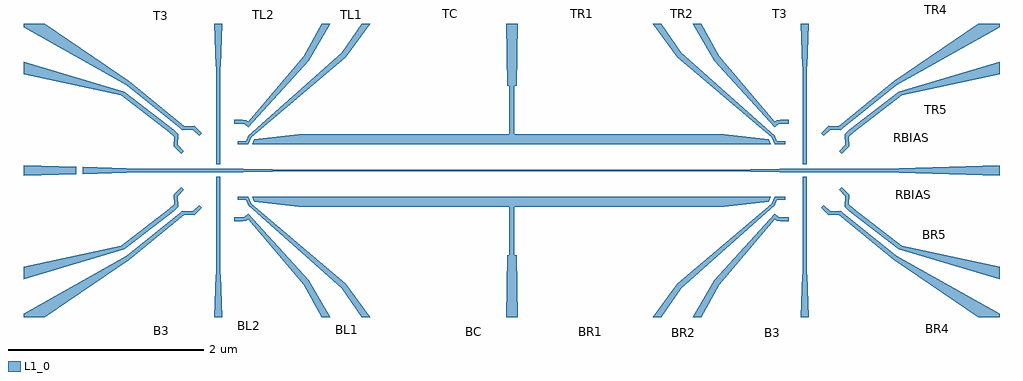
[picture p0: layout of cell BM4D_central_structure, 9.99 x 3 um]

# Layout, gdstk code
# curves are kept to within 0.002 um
import gdstk
lib = gdstk.Library(unit=1e-6, precision=1e-09)
def P(c, l, *ps):  # polygons
    for p in ps: c.add(gdstk.Polygon(p, *l))
L1_0 = (1, 0)

bm4d_central_structure = lib.new_cell('BM4D_central_structure')
P(bm4d_central_structure, L1_0, [(-1.946,-1.5),(-2.131,-1.172),(-2.701,-0.498),(-2.72,-0.515),(-2.758,-0.521),(-2.845,-0.521),(-2.845,-0.481),(-2.762,-0.481),(-2.738,-0.477),(-2.697,-0.442),(-2.081,-1.122),(-1.86,-1.5)],
  [(1.851,-1.5),(2.072,-1.122),(2.688,-0.442),(2.729,-0.477),(2.753,-0.481),(2.836,-0.481),(2.836,-0.521),(2.749,-0.521),(2.711,-0.515),(2.692,-0.498),(2.122,-1.172),(1.937,-1.5)],
  [(-5,-1.5),(-5,-1.468),(-3.945,-0.874),(-3.395,-0.432),(-3.375,-0.412),(-3.268,-0.418),(-3.203,-0.354),(-3.175,-0.382),(-3.252,-0.459),(-3.352,-0.454),(-3.919,-0.912),(-4.781,-1.5)],
  [(4.772,-1.5),(3.91,-0.912),(3.343,-0.454),(3.243,-0.459),(3.166,-0.382),(3.194,-0.354),(3.259,-0.418),(3.366,-0.412),(3.386,-0.432),(3.936,-0.874),(4.991,-1.468),(4.991,-1.5)],
  [(-1.539,-1.5),(-1.744,-1.204),(-2.697,-0.358),(-2.719,-0.3),(-2.808,-0.3),(-2.808,-0.27),(-2.699,-0.27),(-2.671,-0.342),(-1.7,-1.16),(-1.452,-1.5)],
  [(-0.057,-1.5),(-0.05,-0.87),(-0.025,-0.87),(-0.025,-0.37),(-2.183,-0.37),(-2.64,-0.32),(-2.659,-0.27),(2.65,-0.27),(2.631,-0.32),(2.174,-0.37),(0.025,-0.37),(0.025,-0.87),(0.05,-0.87),(0.057,-1.5)],
  [(1.443,-1.5),(1.691,-1.16),(2.662,-0.342),(2.69,-0.27),(2.799,-0.27),(2.799,-0.3),(2.71,-0.3),(2.688,-0.358),(1.735,-1.204),(1.53,-1.5)],
  [(-5,-1.112),(-5,-0.983),(-3.997,-0.768),(-3.507,-0.394),(-3.459,-0.346),(-3.464,-0.247),(-3.387,-0.17),(-3.359,-0.198),(-3.423,-0.262),(-3.418,-0.37),(-3.464,-0.416),(-3.971,-0.806)],
  [(4.991,-1.112),(3.962,-0.806),(3.455,-0.416),(3.409,-0.37),(3.414,-0.262),(3.35,-0.198),(3.378,-0.17),(3.455,-0.247),(3.45,-0.346),(3.498,-0.394),(3.988,-0.768),(4.991,-0.983)],
  [(-3.045,-1.5),(-3.03,-1.065),(-3.025,-1.065),(-3.025,-0.065),(-2.985,-0.065),(-2.985,-1.065),(-2.98,-1.065),(-2.965,-1.5)],
  [(2.956,-1.5),(2.971,-1.065),(2.976,-1.065),(2.976,-0.065),(3.016,-0.065),(3.016,-1.065),(3.021,-1.065),(3.036,-1.5)],
  [(-5,-0.053),(-5,0.053),(-4.462,0.038),(-4.462,-0.038)],
  [(4.991,-0.053),(3.791,-0.02),(2.741,-0.02),(2.141,-0.01),(-2.15,-0.01),(-2.75,-0.02),(-3.8,-0.02),(-4.392,-0.036),(-4.392,0.036),(-3.8,0.02),(-2.75,0.02),(-2.15,0.01),(2.141,0.01),(2.741,0.02),(3.791,0.02),(4.991,0.053)],
  [(-3.387,0.17),(-3.464,0.247),(-3.459,0.346),(-3.507,0.394),(-3.997,0.768),(-5,0.983),(-5,1.112),(-3.971,0.806),(-3.464,0.416),(-3.418,0.37),(-3.423,0.262),(-3.359,0.198)],
  [(3.378,0.17),(3.35,0.198),(3.414,0.262),(3.409,0.37),(3.455,0.416),(3.962,0.806),(4.991,1.112),(4.991,0.983),(3.988,0.768),(3.498,0.394),(3.45,0.346),(3.455,0.247)],
  [(-3.203,0.354),(-3.268,0.418),(-3.375,0.412),(-3.395,0.432),(-3.945,0.874),(-5,1.468),(-5,1.5),(-4.781,1.5),(-3.919,0.912),(-3.352,0.454),(-3.252,0.459),(-3.175,0.382)],
  [(-3.025,0.065),(-3.025,1.065),(-3.03,1.065),(-3.045,1.5),(-2.965,1.5),(-2.98,1.065),(-2.985,1.065),(-2.985,0.065)],
  [(-2.697,0.442),(-2.738,0.477),(-2.762,0.481),(-2.845,0.481),(-2.845,0.521),(-2.758,0.521),(-2.72,0.515),(-2.701,0.498),(-2.131,1.172),(-1.946,1.5),(-1.86,1.5),(-2.081,1.122)],
  [(-2.808,0.27),(-2.808,0.3),(-2.719,0.3),(-2.697,0.358),(-1.744,1.204),(-1.539,1.5),(-1.452,1.5),(-1.7,1.16),(-2.671,0.342),(-2.699,0.27)],
  [(-2.659,0.27),(-2.64,0.32),(-2.183,0.37),(-0.025,0.37),(-0.025,0.87),(-0.05,0.87),(-0.057,1.5),(0.057,1.5),(0.05,0.87),(0.025,0.87),(0.025,0.37),(2.174,0.37),(2.631,0.32),(2.65,0.27)],
  [(2.69,0.27),(2.662,0.342),(1.691,1.16),(1.443,1.5),(1.53,1.5),(1.735,1.204),(2.688,0.358),(2.71,0.3),(2.799,0.3),(2.799,0.27)],
  [(2.688,0.442),(2.072,1.122),(1.851,1.5),(1.937,1.5),(2.122,1.172),(2.692,0.498),(2.711,0.515),(2.749,0.521),(2.836,0.521),(2.836,0.481),(2.753,0.481),(2.729,0.477)],
  [(2.976,0.065),(2.976,1.065),(2.971,1.065),(2.956,1.5),(3.036,1.5),(3.021,1.065),(3.016,1.065),(3.016,0.065)],
  [(3.194,0.354),(3.166,0.382),(3.243,0.459),(3.343,0.454),(3.91,0.912),(4.772,1.5),(4.991,1.5),(4.991,1.468),(3.936,0.874),(3.386,0.432),(3.366,0.412),(3.259,0.418)])
bm4d_central_structure.add(gdstk.Label('TL2', (-2.539,1.599), layer=1, texttype=0))
bm4d_central_structure.add(gdstk.Label('TL1', (-1.643,1.599), layer=1, texttype=0))
bm4d_central_structure.add(gdstk.Label('TC', (-0.624,1.608), layer=1, texttype=0))
bm4d_central_structure.add(gdstk.Label('TR1', (0.722,1.605), layer=1, texttype=0))
bm4d_central_structure.add(gdstk.Label('TR2', (1.748,1.607), layer=1, texttype=0))
bm4d_central_structure.add(gdstk.Label('T3', (-3.59,1.591), layer=1, texttype=0))
bm4d_central_structure.add(gdstk.Label('B3', (-3.585,-1.639), layer=1, texttype=0))
bm4d_central_structure.add(gdstk.Label('BL2', (-2.688,-1.583), layer=1, texttype=0))
bm4d_central_structure.add(gdstk.Label('BL1', (-1.686,-1.625), layer=1, texttype=0))
bm4d_central_structure.add(gdstk.Label('BC', (-0.394,-1.651), layer=1, texttype=0))
bm4d_central_structure.add(gdstk.Label('BR1', (0.808,-1.643), layer=1, texttype=0))
bm4d_central_structure.add(gdstk.Label('BR2', (1.754,-1.655), layer=1, texttype=0))
bm4d_central_structure.add(gdstk.Label('B3', (2.67,-1.663), layer=1, texttype=0))
bm4d_central_structure.add(gdstk.Label('T3', (2.753,1.605), layer=1, texttype=0))
bm4d_central_structure.add(gdstk.Label('LBIAS', (-5.5,0.426), layer=1, texttype=0))
bm4d_central_structure.add(gdstk.Label('LBIAS', (-5.507,-0.268), layer=1, texttype=0))
bm4d_central_structure.add(gdstk.Label('RBIAS', (4.092,0.336), layer=1, texttype=0))
bm4d_central_structure.add(gdstk.Label('RBIAS', (4.106,-0.247), layer=1, texttype=0))
bm4d_central_structure.add(gdstk.Label('TL4', (-5.447,1.642), layer=1, texttype=0))
bm4d_central_structure.add(gdstk.Label('TL5', (-5.518,0.816), layer=1, texttype=0))
bm4d_central_structure.add(gdstk.Label('TCWL', (-5.488,0.204), layer=1, texttype=0))
bm4d_central_structure.add(gdstk.Label('BL4', (-5.518,-1.734), layer=1, texttype=0))
bm4d_central_structure.add(gdstk.Label('BL5', (-5.508,-0.734), layer=1, texttype=0))
bm4d_central_structure.add(gdstk.Label('TR4', (4.345,1.652), layer=1, texttype=0))
bm4d_central_structure.add(gdstk.Label('TR5', (4.345,0.622), layer=1, texttype=0))
bm4d_central_structure.add(gdstk.Label('BR4', (4.355,-1.622), layer=1, texttype=0))
bm4d_central_structure.add(gdstk.Label('BR5', (4.325,-0.653), layer=1, texttype=0))
bm4d_central_structure.add(gdstk.Label('TCW', (4.09,0.194), layer=1, texttype=0))

lib.write_gds('BM4D_central_structure.gds')
